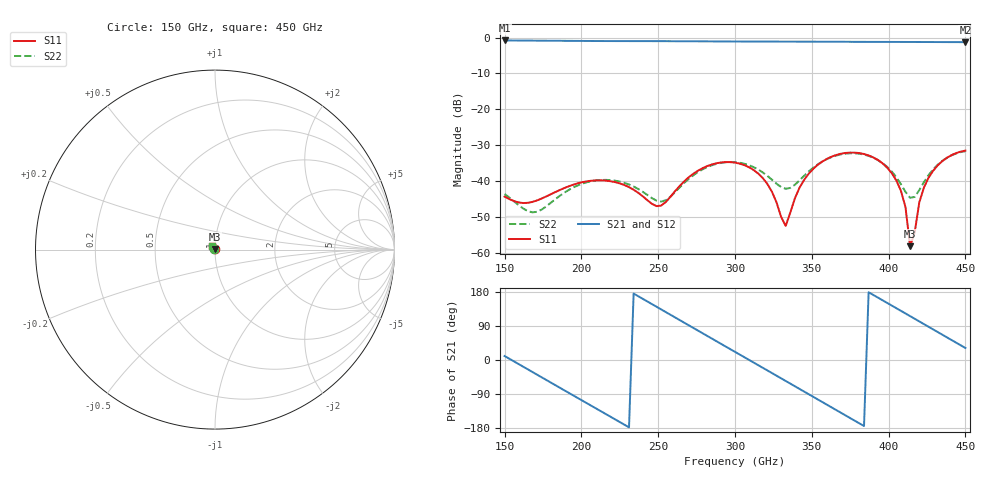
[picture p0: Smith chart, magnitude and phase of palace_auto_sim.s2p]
#  GHZ S DB R 50
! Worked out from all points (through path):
!   101 points, 150 GHz to 450 GHz, reference 50 ohm
!   highest |S21| = -0.80 dB at 150 GHz (marker M1); lowest = -1.3 dB at 450 GHz (marker M2)
!   group delay of S21, straight-line fit = 6.47 ps
!   lowest |S11| = -58.2 dB at 414 GHz (marker M3), VSWR 1.00, Z = 50.1 + j0.0681 ohm
!   |S11| at or under -10 dB: start of sweep to end of sweep
!   |S22| runs from -48.8 to -31.7 dB; largest |S21 - S12| = 1.8e-13
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150  -44.37 116.8  -0.80 10.5  -0.80 10.5  -43.62 129.6
168  -45.86 -2.5  -0.84 -31.4  -0.84 -31.4  -48.76 8.5
180  -43.72 -75.2  -0.88 -59.3  -0.88 -59.3  -46.12 -82.7
201  -40.31 -172.2  -0.94 -108.1  -0.94 -108.1  -40.69 176.8
228  -41.15 91.1  -0.98 -170.8  -0.98 -170.8  -40.53 81.1
252  -46.85 -48.9  -1.00 133.3  -1.00 133.3  -45.76 -46.0
264  -41.38 -127.8  -1.02 105.3  -1.02 105.3  -41.78 -129.1
276  -37.10 -173.6  -1.04 77.3  -1.04 77.3  -37.49 -180.0
300  -34.89 114.2  -1.09 21.5  -1.09 21.5  -34.75 100.8
318  -39.15 60.8  -1.11 -20.4  -1.11 -20.4  -37.60 36.7
333  -52.54 -62.0  -1.12 -55.3  -1.12 -55.3  -42.18 -54.9
342  -41.90 -149.8  -1.13 -76.3  -1.13 -76.3  -39.84 -121.9
351  -36.59 -179.3  -1.14 -97.3  -1.14 -97.3  -36.28 -164.7
378  -32.10 112.0  -1.18 -160.3  -1.18 -160.3  -32.28 109.8
390  -33.42 83.0  -1.20 171.8  -1.20 171.8  -33.50 74.4
402  -37.79 54.6  -1.21 143.8  -1.21 143.8  -37.34 33.4
411  -47.31 34.7  -1.22 122.8  -1.22 122.8  -43.05 -19.3
414  -58.20 33.5  -1.23 115.8  -1.23 115.8  -44.70 -51.3
417  -54.34 -167.1  -1.23 108.8  -1.23 108.8  -44.46 -88.3
420  -45.96 -170.9  -1.23 101.8  -1.23 101.8  -42.54 -118.5
426  -39.12 176.2  -1.24 87.8  -1.24 87.8  -38.38 -155.3
450  -31.54 121.8  -1.28 31.7  -1.28 31.7  -31.69 128.0
